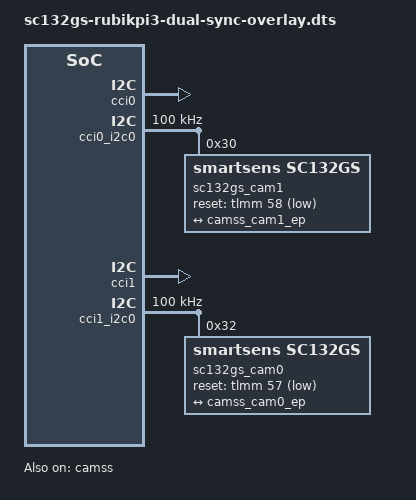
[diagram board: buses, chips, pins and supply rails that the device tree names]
/dts-v1/;
/plugin/;

/*
 * GS130WI stereo external-trigger wiring on RUBIK Pi 3 V02:
 * Hardware-verified GS130WI control routing on this cable/connector pair:
 *   camera 0: CCI1/0x32, CSIPHY1, RESET on TLMM57, FSYNC on TLMM18
 *   camera 1: CCI0/0x30, CSIPHY4, RESET on TLMM58, FSYNC on TLMM19
 *
 * Disable the unused fixed-regulator ownership of TLMM18/19.  The host FSYNC
 * generator owns both lines in one GPIO-v2 request and changes them together.
 */

/ {
	fragment@100 {
		target-path = "/soc@0/gpio-regulator@0";
		__overlay__ {
			status = "disabled";
		};
	};

	fragment@101 {
		target-path = "/soc@0/gpio-regulator@1";
		__overlay__ {
			status = "disabled";
		};
	};
};

&cci0 {
	status = "okay";
};

&cci0_i2c0 {
	#address-cells = <1>;
	#size-cells = <0>;
	clock-frequency = <100000>;

	sc132gs_cam1: camera@30 {
		compatible = "smartsens,sc132gs";
		reg = <0x30>;
		clocks = <&camcc 0x60>;
		clock-names = "xclk";
		pinctrl-names = "default", "sleep";
		pinctrl-0 = <&cam2_default>;
		pinctrl-1 = <&cam2_suspend>;
		reset-gpios = <&tlmm 58 1>;
		smartsens,external-trigger;

		port {
			sc132gs_cam1_ep: endpoint {
				clock-lanes = <7>;
				data-lanes = <0>;
				link-frequencies = /bits/ 64 <600000000>;
				remote-endpoint = <&camss_cam1_ep>;
			};
		};
	};
};

&cci1 {
	status = "okay";
};

&cci1_i2c0 {
	#address-cells = <1>;
	#size-cells = <0>;
	clock-frequency = <100000>;

	sc132gs_cam0: camera@32 {
		compatible = "smartsens,sc132gs";
		reg = <0x32>;
		clocks = <&camcc 0x5c>;
		clock-names = "xclk";
		reset-gpios = <&tlmm 57 1>;
		smartsens,external-trigger;

		port {
			sc132gs_cam0_ep: endpoint {
				clock-lanes = <7>;
				data-lanes = <0>;
				link-frequencies = /bits/ 64 <600000000>;
				remote-endpoint = <&camss_cam0_ep>;
			};
		};
	};
};

&camss {
	status = "okay";
	power-domain-names = "ife0", "ife1", "ife2", "top";
	clock-names = "camnoc_axi",
		"csi0", "csi1", "csi2", "csi3", "csi4",
		"csiphy0", "csiphy0_timer",
		"csiphy1", "csiphy1_timer",
		"csiphy2", "csiphy2_timer",
		"csiphy3", "csiphy3_timer",
		"csiphy4", "csiphy4_timer",
		"cpas_ahb", "gcc_camera_axi", "soc_ahb",
		"vfe0_axi", "vfe0", "vfe0_cphy_rx",
		"vfe1_axi", "vfe1", "vfe1_cphy_rx",
		"vfe2_axi", "vfe2", "vfe2_cphy_rx",
		"vfe0_lite", "vfe0_lite_cphy_rx",
		"vfe1_lite", "vfe1_lite_cphy_rx";
	vdda-phy-supply = <&vreg_l10c_0p88>;
	vdda-pll-supply = <&vreg_l6b_1p2>;

	ports {
		#address-cells = <1>;
		#size-cells = <0>;

		port@1 {
			reg = <1>;
			camss_cam0_ep: endpoint {
				clock-lanes = <7>;
				data-lanes = <0>;
				remote-endpoint = <&sc132gs_cam0_ep>;
			};
		};

		port@4 {
			reg = <4>;
			camss_cam1_ep: endpoint {
				clock-lanes = <7>;
				data-lanes = <0>;
				remote-endpoint = <&sc132gs_cam1_ep>;
			};
		};
	};
};
